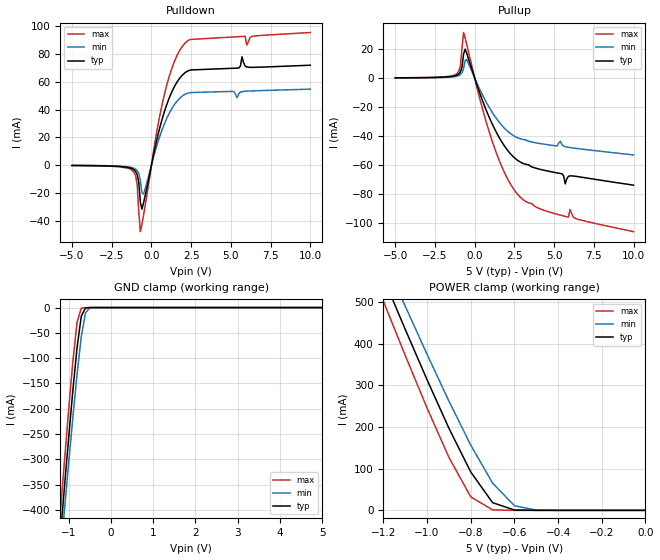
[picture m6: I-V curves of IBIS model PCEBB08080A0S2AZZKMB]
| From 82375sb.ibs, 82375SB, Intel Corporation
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[Model]   PCEBB08080A0S2AZZKMB
Model_type   I/O
Vinl = 0.80V
Vinh = 2.00V
|   typ   min   max
C_comp   1.80pF   0.97pF   3.72pF
[Voltage range]   5.000V   4.750V   5.250V
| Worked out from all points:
|   slope of the pulldown table from 0 to 0.75 V, typ, clamps not added: 20.8 ohm
|   slope of the pullup table from 0 to 0.75 V, typ, clamps not added: 33 ohm
|   GND clamp passes 1 mA (typ) near -0.60 V on its own axis
|   POWER clamp passes 1 mA (typ) near -0.60 V on its own axis
[Pulldown]
|   Voltage   I(typ)   I(min)   I(max)
-5V       -301.3uA   -247.4uA   -364.1uA
-1.2V     -2.71mA    -1.92mA    -3.91mA
-900mV    -6.9mA     -4.02mA    -13.92mA
-700mV    -26.69mA   -10.98mA   -47.97mA
-500mV    -27.35mA   -20.86mA   -36.16mA
700mV     34.13mA    26.34mA    45.25mA
1.3V      53.15mA    40.97mA    70.18mA
2V        65.39mA    50.16mA    86.31mA
5.5V      69.91mA    51.48mA    92.49mA
5.7V      77.99mA    52.87mA    92.62mA
6.1V      70.48mA    53.31mA    88.66mA
10V       71.91mA    54.68mA    95.45mA
[GND_clamp]
|   Voltage   I(typ)   I(min)   I(max)
-5V       -4.47A     -4.31A     -4.64A
-1.2V     -456.5mA   -497mA     -410.3mA
-1.15V    -406.5mA   -449.4mA   -357.7mA
-1.1V     -356.4mA   -401.8mA   -305.2mA
-1V       -258.5mA   -308.4mA   -203.1mA
-900mV    -164.5mA   -217.7mA   -107.2mA
-800mV    -78.97mA   -132mA     -29.03mA
-700mV    -17.16mA   -57.25mA   -1.18mA
-600mV    -818.1uA   -10.58mA   -17.93uA
-500mV    -23.4uA    -640.1uA   -275.3nA
5V        80.56pA    321.3nA    69.62pA
[Pullup]
|   Voltage   I(typ)   I(min)   I(max)
-5V       194.1uA    155.6uA    242.2uA
-1.2V     1.72mA     1.19mA     2.53mA
-900mV    4.31mA     2.49mA     8.65mA
-700mV    16.68mA    6.77mA     31.41mA
-500mV    16.94mA    12.65mA    23.02mA
1.1V      -31.51mA   -23.53mA   -43.37mA
1.9V      -47.18mA   -34.79mA   -65.7mA
2.7V      -56.61mA   -41.06mA   -80.03mA
5.5V      -65.94mA   -45.93mA   -94.66mA
5.7V      -72.83mA   -47.2mA    -95.22mA
6.1V      -67.32mA   -47.99mA   -93.14mA
10V       -73.72mA   -52.91mA   -105.7mA
[POWER_clamp]
|   Voltage   I(typ)   I(min)   I(max)
-5V       5.54A      5.33A      5.74A
-1.2V     558.6mA    608.1mA    502mA
-1.15V    496.6mA    549.1mA    437mA
-1.1V     434.6mA    490.2mA    371.9mA
-1.05V    374mA      432.3mA    308.8mA
-1V       313.4mA    374.5mA    245.6mA
-900mV    197.3mA    262.3mA    127.3mA
-800mV    92.17mA    156.6mA    32.38mA
-700mV    18.49mA    65.49mA    1.19mA
-600mV    820.1uA    11.11mA    17.65uA
-500mV    23.1uA     640.4uA    252.3nA
0V        -56.48pA   599.5pA    -42.63pA
[Ramp]
|   typ   min   max
dV/dt_r   1.59V/408.92ps   1.28V/563.27ps   1.95V/274.86ps
dV/dt_f   1.89V/1.01ns   1.59V/1.26ns   2.21V/576.96ps
